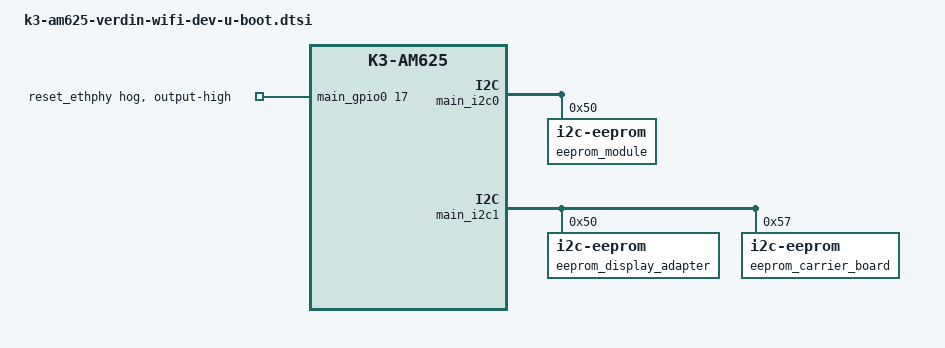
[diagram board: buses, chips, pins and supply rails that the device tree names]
// SPDX-License-Identifier: GPL-2.0-or-later OR MIT
/*
 * Copyright 2023 Toradex
 */

/ {
	aliases {
		eeprom0 = &eeprom_module;
		eeprom1 = &eeprom_carrier_board;
		eeprom2 = &eeprom_display_adapter;
	};

	chosen {
		tick-timer = &main_timer0;
	};

	memory@80000000 {
		bootph-pre-ram;
	};
};

&cbass_main {
	bootph-pre-ram;

	timer@2400000 {
		clock-frequency = <25000000>;
		bootph-pre-ram;
	};
};

&cbass_mcu {
	bootph-pre-ram;
};

&cbass_wakeup {
	bootph-pre-ram;
};

&chipid {
	bootph-pre-ram;
};

&cpsw3g {
	/* U-Boot does not support pinctrls in the cpsw3g_midio node so we just add them all here */
	pinctrl-names = "default";
	pinctrl-0 = <&pinctrl_eth_clock
		     &pinctrl_mdio
		     &pinctrl_rgmii1
		     &pinctrl_rgmii2>;
	reg = <0x0 0x8000000 0x0 0x200000>,
	      <0x0 0x43000200 0x0 0x8>;
	reg-names = "cpsw_nuss", "mac_efuse";
	/delete-property/ ranges;
	bootph-pre-ram;

	cpsw-phy-sel@04044 {
		compatible = "ti,am64-phy-gmii-sel";
		reg = <0x0 0x00104044 0x0 0x8>;
		bootph-pre-ram;
	};
};

&cpsw3g_phy0 {
	/* U-Boot currently does not support reset-gpios so we just hog it */
	pinctrl-names = "default";
	pinctrl-0 = <&pinctrl_eth_int>;
	bootph-pre-ram;
};

&cpsw3g_phy1 {
	bootph-pre-ram;
};

&cpsw_port1 {
	bootph-pre-ram;
};

&cpsw_port2 {
	bootph-pre-ram;
};

&dmsc {
	bootph-pre-ram;

	k3_sysreset: sysreset-controller {
		compatible = "ti,sci-sysreset";
		bootph-pre-ram;
	};
};

&dmss {
	bootph-pre-ram;
};

&fss {
	bootph-pre-ram;
};

&k3_clks {
	bootph-pre-ram;
};

&k3_pds {
	bootph-pre-ram;
};

&k3_reset {
	bootph-pre-ram;
};

&main_gpio0 {
	bootph-pre-ram;

	/* FIXME: no PHY reset support */
	reset-ethphy {
		gpio-hog;
		gpios = <17 GPIO_ACTIVE_HIGH>;
		line-name = "reset_ethphy";
		output-high;
		pinctrl-names = "default";
		pinctrl-0 = <&pinctrl_eth_reset>;
	};
};

/* On-module I2C - PMIC_I2C */
&main_i2c0 {
	eeprom_module: eeprom@50 {
		compatible = "i2c-eeprom";
		pagesize = <16>;
		reg = <0x50>;
	};
};

/* Verdin I2C_1 */
&main_i2c1 {
	/* EEPROM on display adapter (MIPI DSI Display Adapter) */
	eeprom_display_adapter: eeprom@50 {
		compatible = "i2c-eeprom";
		reg = <0x50>;
		pagesize = <16>;
	};

	/* EEPROM on carrier board */
	eeprom_carrier_board: eeprom@57 {
		compatible = "i2c-eeprom";
		reg = <0x57>;
		pagesize = <16>;
	};
};

&main_pmx0 {
	bootph-pre-ram;
};

/* Verdin UART_3, used as the Linux console */
&main_uart0 {
	bootph-pre-ram;
};

/* Verdin UART_1 */
&main_uart1 {
	bootph-pre-ram;
};

&mcu_pmx0 {
	bootph-pre-ram;
};

&pinctrl_ctrl_sleep_moci {
	bootph-pre-ram;
};

&pinctrl_i2c0 {
	bootph-pre-ram;
};

&pinctrl_i2c1 {
	bootph-pre-ram;
};

&pinctrl_sdhci0 {
	bootph-pre-ram;
};

&pinctrl_uart0 {
	bootph-pre-ram;
};

&pinctrl_uart1 {
	bootph-pre-ram;
};

&pinctrl_wkup_uart0 {
	bootph-pre-ram;
};

&sdhci0 {
	bootph-pre-ram;
};

&sdhci2 {
	status = "disabled";
};

&secure_proxy_main {
	bootph-pre-ram;
};

&verdin_ctrl_sleep_moci {
	bootph-pre-ram;
};

&wkup_conf {
	bootph-pre-ram;
};

/* Verdin UART_2 */
&wkup_uart0 {
	bootph-pre-ram;
};
